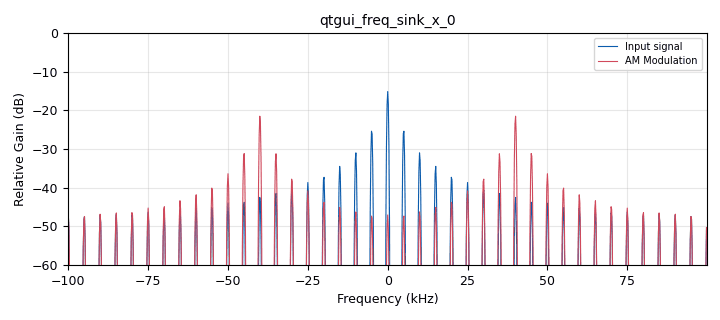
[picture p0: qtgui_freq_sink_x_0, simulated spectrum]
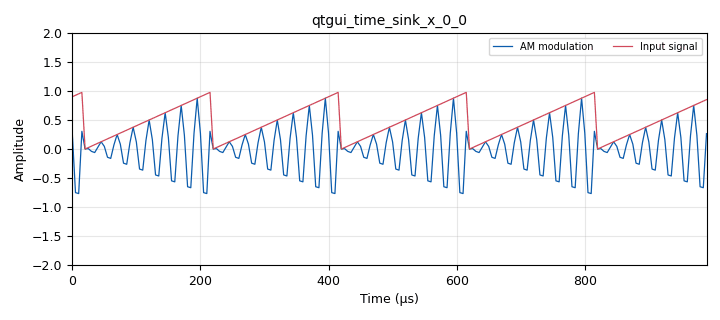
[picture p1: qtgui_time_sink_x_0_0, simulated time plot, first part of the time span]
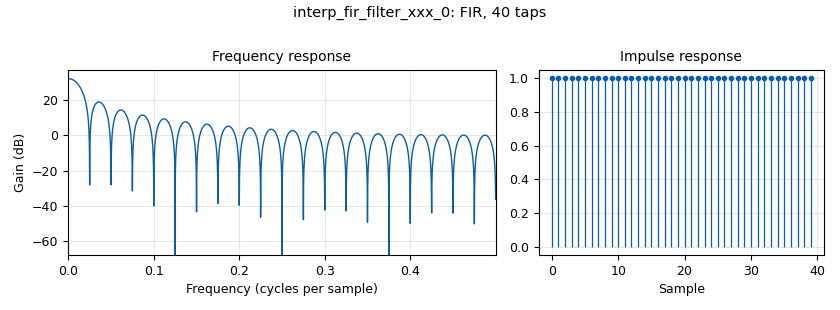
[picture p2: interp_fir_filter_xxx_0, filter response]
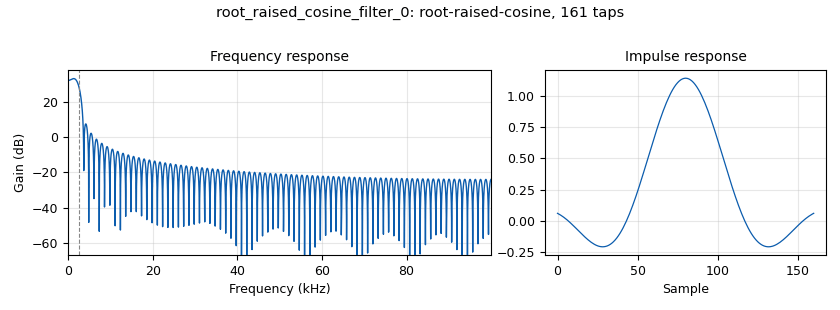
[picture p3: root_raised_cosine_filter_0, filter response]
options:
  parameters:
    author: C. Seguinot
    category: Custom
    copyright: GNU GPL V3
    description: 'IQ tutorial : simple AM modulation using real blocks'
    generate_options: qt_gui
    id: IQ_tutorial_AM_TX_real
    output_language: python
    title: Amplitude modulation
  states: {}

blocks:
- name: bit_rate
  id: variable
  parameters:
    value: '5000'
  states: {}
- name: fp
  id: variable_qtgui_range
  parameters:
    gui_hint: 1,0,1,1
    label: Carrier Frequency F0
    start: '20000'
    step: '1'
    stop: '80000'
    value: '40000'
  states: {}
- name: input_select
  id: variable_qtgui_chooser
  parameters:
    label0: Saw tooth
    label1: Random bits (unfiltered)
    label2: Random bits with Nyquist filter
    num_opts: '3'
    option0: '0'
    option1: '1'
    option2: '2'
    type: int
    value: '0'
  states: {}
- name: samp_rate
  id: variable
  parameters:
    value: bit_rate*sample_per_bit
  states: {}
- name: sample_per_bit
  id: variable
  parameters:
    value: '40'
  states: {}
- name: analog_random_source_x_0
  id: analog_random_source_x
  parameters:
    max: '2'
    min: '0'
    num_samps: '1000'
    repeat: 'True'
    type: byte
  states: {}
- name: analog_sig_source_x_0
  id: analog_sig_source_x
  parameters:
    amp: '1'
    freq: bit_rate
    offset: '0'
    phase: '0'
    samp_rate: samp_rate
    type: float
    waveform: analog.GR_SAW_WAVE
  states: {}
- name: analog_sig_source_x_1_1
  id: analog_sig_source_x
  parameters:
    amp: '1'
    comment: Carrier
    freq: fp
    offset: '0'
    phase: '0'
    samp_rate: samp_rate
    type: float
    waveform: analog.GR_COS_WAVE
  states: {}
- name: blocks_add_const_vxx_0_0
  id: blocks_add_const_vxx
  parameters:
    const: '0'
    type: float
  states: {}
- name: blocks_char_to_float_0
  id: blocks_char_to_float
  parameters:
    scale: '1'
  states: {}
- name: blocks_float_to_complex_0
  id: blocks_float_to_complex
  parameters: {}
  states: {}
- name: blocks_multiply_xx_2
  id: blocks_multiply_xx
  parameters:
    comment: AM Modulator
    type: float
  states: {}
- name: blocks_selector_0
  id: blocks_selector
  parameters:
    enabled: 'True'
    input_index: input_select
    num_inputs: '3'
    num_outputs: '1'
    output_index: '0'
    type: float
  states: {}
- name: blocks_throttle_1
  id: blocks_throttle
  parameters:
    samples_per_second: samp_rate
    type: float
  states: {}
- name: interp_fir_filter_xxx_0
  id: interp_fir_filter_xxx
  parameters:
    comment: interpolate without filtering
    interp: sample_per_bit
    taps: numpy.ones(sample_per_bit)
    type: fff
  states: {}
- name: qtgui_freq_sink_x_0
  id: qtgui_freq_sink_x
  parameters:
    bw: samp_rate
    fc: '0'
    fftsize: '1024'
    gui_hint: 0,1,2,1
    label1: Input signal
    label2: AM Modulation
    nconnections: '2'
    type: float
    ymax: '0'
    ymin: '-60'
  states: {}
- name: qtgui_freq_sink_x_0_0
  id: qtgui_freq_sink_x
  parameters:
    bw: samp_rate
    ctrlpanel: 'True'
    fc: '0'
    fftsize: '1024'
    name: '"signal detect IP3"'
    showports: 'True'
    type: complex
  states: {}
- name: qtgui_time_sink_x_0
  id: qtgui_time_sink_x
  parameters:
    autoscale: 'True'
    ctrlpanel: 'True'
    label1: ''
    label2: ''
    name: '"signal detect IP3"'
    size: '1024'
    srate: samp_rate
    type: complex
  states: {}
- name: qtgui_time_sink_x_0_0
  id: qtgui_time_sink_x
  parameters:
    color1: red
    color2: blue
    ctrlpanel: 'True'
    grid: 'True'
    gui_hint: 2,0,1,2
    label1: AM modulation
    label2: Input signal
    name: ''
    nconnections: '2'
    size: '1024'
    srate: samp_rate
    tr_level: '0.5'
    type: float
    update_time: '0.30'
    ymax: '2'
    ymin: '-2'
  states: {}
- name: root_raised_cosine_filter_0
  id: root_raised_cosine_filter
  parameters:
    alpha: '0.3'
    comment: |-
      Use raised Cosine Filter to reduce 
      bandwidth to bit_rate(1+excess BW)
    gain: sample_per_bit
    interp: sample_per_bit
    ntaps: sample_per_bit*4
    samp_rate: samp_rate
    sym_rate: bit_rate
    type: interp_fir_filter_fff
  states: {}
- name: uhd_usrp_sink_0
  id: uhd_usrp_sink
  parameters:
    ant0: '"TX/RX"'
    bw0: 22e6
    center_freq0: 1.5e9
    dev_addr: '"addr=192.168.10.2"'
    gain0: '30'
    samp_rate: samp_rate
    sync: pc_clock
    type: fc32
  states: {}
- name: uhd_usrp_source_1
  id: uhd_usrp_source
  parameters:
    ant0: '"TX/RX"'
    bw0: 22e6
    center_freq0: 1.5e9
    dev_addr: '"addr=192.168.10.3"'
    dev_args: '""'
    gain0: '26'
    samp_rate: samp_rate
    sync: pc_clock
    type: fc32
  states: {}
- name: virtual_sink_0
  id: virtual_sink
  parameters:
    comment: |-
      input signal
      (random bit sequence at bit_rate)
    stream_id: input_signal
  states: {}
- name: virtual_source_0
  id: virtual_source
  parameters:
    comment: input signal
    stream_id: input_signal
  states: {}
- name: virtual_source_0_0
  id: virtual_source
  parameters:
    comment: input signal
    stream_id: input_signal
  states: {}

connections:
- [analog_random_source_x_0, '0', blocks_char_to_float_0, '0']
- [analog_sig_source_x_0, '0', blocks_selector_0, '0']
- [analog_sig_source_x_1_1, '0', blocks_multiply_xx_2, '1']
- [blocks_add_const_vxx_0_0, '0', interp_fir_filter_xxx_0, '0']
- [blocks_add_const_vxx_0_0, '0', root_raised_cosine_filter_0, '0']
- [blocks_char_to_float_0, '0', blocks_add_const_vxx_0_0, '0']
- [blocks_float_to_complex_0, '0', uhd_usrp_sink_0, '0']
- [blocks_multiply_xx_2, '0', blocks_float_to_complex_0, '0']
- [blocks_multiply_xx_2, '0', qtgui_freq_sink_x_0, '1']
- [blocks_multiply_xx_2, '0', qtgui_time_sink_x_0_0, '0']
- [blocks_selector_0, '0', blocks_throttle_1, '0']
- [blocks_throttle_1, '0', virtual_sink_0, '0']
- [interp_fir_filter_xxx_0, '0', blocks_selector_0, '1']
- [root_raised_cosine_filter_0, '0', blocks_selector_0, '2']
- [uhd_usrp_source_1, '0', qtgui_freq_sink_x_0_0, '0']
- [uhd_usrp_source_1, '0', qtgui_time_sink_x_0, '0']
- [virtual_source_0, '0', blocks_multiply_xx_2, '0']
- [virtual_source_0, '0', qtgui_freq_sink_x_0, '0']
- [virtual_source_0_0, '0', qtgui_time_sink_x_0_0, '1']

metadata:
  file_format: 1
